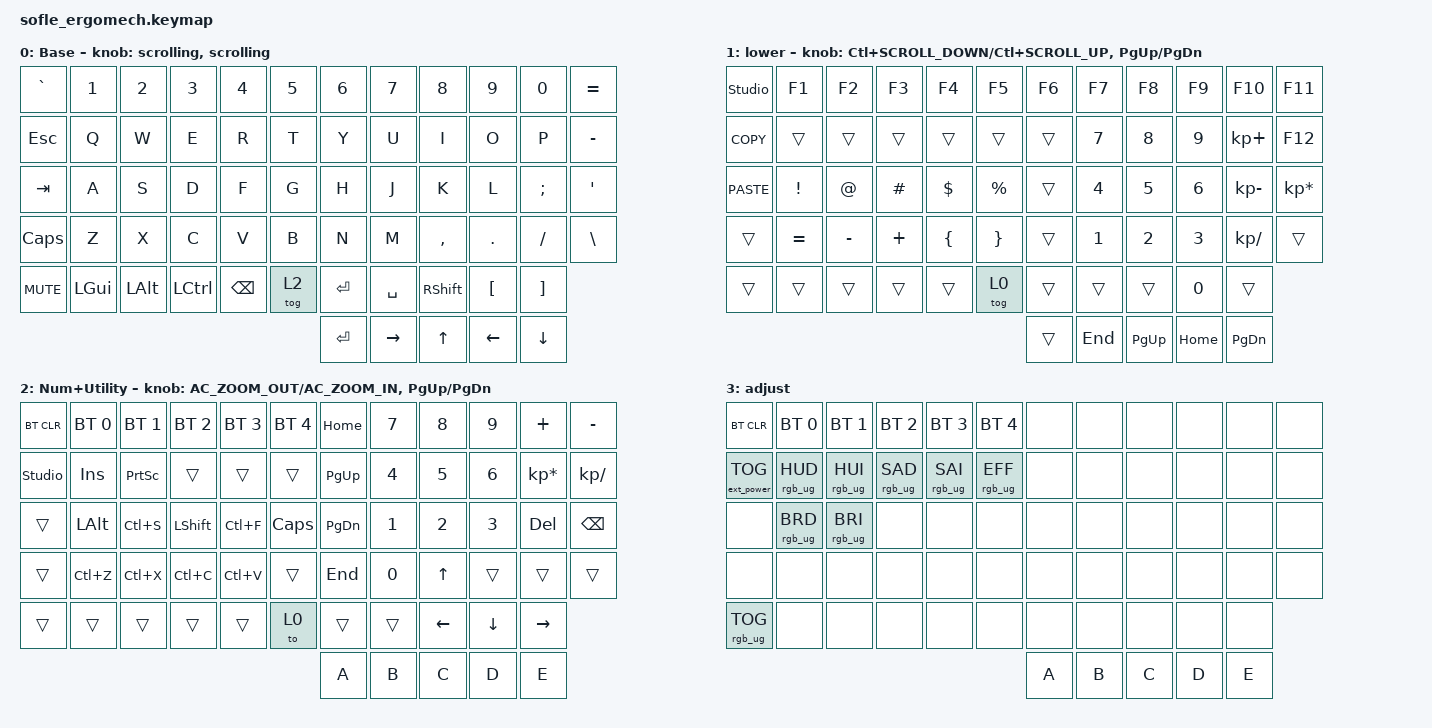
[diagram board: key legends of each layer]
/*
 * Copyright (c) 2020 The ZMK Contributors
 *
 * SPDX-License-Identifier: MIT
 */

#include <behaviors.dtsi>
#include <dt-bindings/zmk/bt.h>
#include <dt-bindings/zmk/ext_power.h>
#include <dt-bindings/zmk/keys.h>
#include <dt-bindings/zmk/rgb.h>
#include <dt-bindings/zmk/pointing.h>

#define BASE 0
#define LOWER 1
#define RAISE 2
#define ADJUST 3

/ {
    // Activate ADJUST layer by pressing raise and lower

    conditional_layers {
        compatible = "zmk,conditional-layers";

        adjust_layer {
            if-layers = <LOWER RAISE>;
            then-layer = <ADJUST>;
        };
    };

    behaviors {
        scrolling: scrolling {
            compatible = "zmk,behavior-sensor-rotate";
            #sensor-binding-cells = <0>;
            bindings = <&msc SCRL_UP>, <&msc SCRL_DOWN>;
        };
    };

    macros {
        Cut: Cut {
            compatible = "zmk,behavior-macro";
            #binding-cells = <0>;
            bindings = <&kp LC(X)>;
            label = "CUT";
        };

        Copy: Copy {
            compatible = "zmk,behavior-macro";
            #binding-cells = <0>;
            bindings = <&kp LC(C)>;
            label = "COPY";
        };

        Paste: Paste {
            compatible = "zmk,behavior-macro";
            #binding-cells = <0>;
            bindings = <&kp LC(V)>;
            label = "PASTE";
        };

        Save: Save {
            compatible = "zmk,behavior-macro";
            #binding-cells = <0>;
            bindings = <&kp LC(S)>;
            label = "SAVE";
        };

        Find: Find {
            compatible = "zmk,behavior-macro";
            #binding-cells = <0>;
            bindings = <&kp LC(F)>;
            label = "FIND";
        };

        Undo: Undo {
            compatible = "zmk,behavior-macro";
            #binding-cells = <0>;
            bindings = <&kp LC(Z)>;
            label = "UNDO";
        };
    };

    keymap {
        compatible = "zmk,keymap";

        default_layer {
            label = "Base";

            // ------------------------------------------------------------------------------------------------------------
            // |   `   |  1  |  2  |  3   |  4   |  5   |                   |  6   |  7    |  8    |  9   |   0   |       |
            // |  ESC  |  Q  |  W  |  E   |  R   |  T   |                   |  Y   |  U    |  I    |  O   |   P   | BKSPC |
            // |  TAB  |  A  |  S  |  D   |  F   |  G   |                   |  H   |  J    |  K    |  L   |   ;   |   '   |
            // | SHIFT |  Z  |  X  |  C   |  V   |  B   |  MUTE  |  |       |  N   |  M    |  ,    |  .   |   /   | SHIFT |
            //               | GUI | ALT  | CTRL | LOWER|  ENTER |  | SPACE | RAISE| CTRL  | ALT   | GUI  |

            bindings = <
&kp GRAVE   &kp N1    &kp N2    &kp N3     &kp N4         &kp N5  &kp N6     &kp N7     &kp N8        &kp N9    &kp N0    &kp EQUAL
&kp ESC     &kp Q     &kp W     &kp E      &kp R          &kp T   &kp Y      &kp U      &kp I         &kp O     &kp P     &kp MINUS
&kp TAB     &kp A     &kp S     &kp D      &kp F          &kp G   &kp H      &kp J      &kp K         &kp L     &kp SEMI  &kp SQT
&kp CAPS    &kp Z     &kp X     &kp C      &kp V          &kp B   &kp N      &kp M      &kp COMMA     &kp DOT   &kp FSLH  &kp BACKSLASH
&kp C_MUTE  &kp LGUI  &kp LALT  &kp LCTRL  &kp BACKSPACE  &tog 2  &kp ENTER  &kp SPACE  &kp RSHIFT    &kp LBKT  &kp RBKT
                                                                  &kp ENTER  &kp RIGHT  &kp UP_ARROW  &kp LEFT  &kp DOWN
            >;

            sensor-bindings =
                <&scrolling &scrolling>;
        };

        lower_layer {
            label = "lower";

            // TODO: Some binds are waiting for shifted keycode support.
            // ------------------------------------------------------------------------------------------------------------
            // |       |  F1 |  F2 |  F3  |  F4  |  F5  |                   |  F6  |  F7   |  F8   |  F9  |  F10  |  F11  |
            // |   `   |  1  |  2  |  3   |  4   |  5   |                   |  6   |  7    |  8    |  9   |   0   |  F12  |
            // |       |  !  |  @  |  #   |  $   |  %   |                   |  ^   |  &    |  *    |  (   |   )   |   |   |
            // |       |  =  |  -  |  +   |  {   |  }   |        |  |       |  [   |  ]    |  ;    |  :   |   \   |       |
            //               |     |      |      |      |        |  |       |      |       |       |      |

            bindings = <
&studio_unlock  &kp F1     &kp F2     &kp F3    &kp F4    &kp F5     &kp F6  &kp F7   &kp F8       &kp F9    &kp F10          &kp F11
&kp K_COPY      &trans     &trans     &trans    &trans    &trans     &trans  &kp N7   &kp N8       &kp N9    &kp KP_PLUS      &kp F12
&kp K_PASTE     &kp EXCL   &kp AT     &kp HASH  &kp DLLR  &kp PRCNT  &trans  &kp N4   &kp N5       &kp N6    &kp KP_SUBTRACT  &kp KP_MULTIPLY
&trans          &kp EQUAL  &kp MINUS  &kp PLUS  &kp LBRC  &kp RBRC   &trans  &kp N1   &kp N2       &kp N3    &kp KP_DIVIDE    &trans
&trans          &trans     &trans     &trans    &trans    &tog 0     &trans  &trans   &trans       &kp N0    &trans
                                                                     &trans  &kp END  &kp PAGE_UP  &kp HOME  &kp PAGE_DOWN
            >;

            sensor-bindings =
                <&inc_dec_kp LC(K_SCROLL_DOWN) LC(K_SCROLL_UP) &inc_dec_kp PG_UP PG_DN>;
        };

        raise_layer {
            label = "Num+Utility";

            // ------------------------------------------------------------------------------------------------------------
            // | BTCLR | BT1  | BT2  |  BT3  |  BT4  |  BT5 |                |      |      |       |      |       |       |
            // |       | INS  | PSCR | GUI   |       |      |                | PGUP |      |   ^   |      |       |       |
            // |       | ALT  | CTRL | SHIFT |       | CAPS |                | PGDN |   <- |   v   |  ->  |  DEL  | BKSPC |
            // |       | UNDO | CUT  | COPY  | PASTE |      |      |  |      |      |      |       |      |       |       |
            //                |      |       |       |      |      |  |      |      |      |       |      |

            bindings = <
&bt BT_CLR      &bt BT_SEL 0  &bt BT_SEL 1  &bt BT_SEL 2  &bt BT_SEL 3  &bt BT_SEL 4  &kp HOME   &kp N7  &kp N8    &kp N9    &kp PLUS         &kp MINUS
&studio_unlock  &kp INS       &kp PSCRN     &trans        &trans        &trans        &kp PG_UP  &kp N4  &kp N5    &kp N6    &kp KP_MULTIPLY  &kp KP_DIVIDE
&trans          &kp LALT      &kp LC(S)     &kp LSHFT     &kp LC(F)     &kp CLCK      &kp PG_DN  &kp N1  &kp N2    &kp N3    &kp DEL          &kp BSPC
&trans          &kp LC(Z)     &kp LC(X)     &kp LC(C)     &kp LC(V)     &trans        &kp END    &kp N0  &kp UP    &trans    &trans           &trans
&trans          &trans        &trans        &trans        &trans        &to 0         &trans     &trans  &kp LEFT  &kp DOWN  &kp RIGHT
                                                                                      &kp A      &kp B   &kp C     &kp D     &kp E
            >;

            sensor-bindings =
                <&inc_dec_kp C_AC_ZOOM_OUT C_AC_ZOOM_IN &inc_dec_kp PG_UP PG_DN>;
        };

        adjust_layer {
            // ----------------------------------------------------------------------------------------------------------------------------
            // | BTCLR  |  BT1    |  BT2    |   BT3   |   BT4   |   BT5   |                  |      |      |       |      |       |       |
            // | EXTPWR | RGB_HUD | RGB_HUI | RGB_SAD | RGB_SAI | RGB_EFF |                  |      |      |       |      |       |       |
            // |        | RGB_BRD | RGB_BRI |         |         |         |                  |      |      |       |      |       |       |
            // |        |         |         |         |         |         | RGB_TOG | |      |      |      |       |      |       |       |
            //                    |         |         |         |         |         | |      |      |      |       |      |

            label = "adjust";
            bindings = <
&bt BT_CLR         &bt BT_SEL 0     &bt BT_SEL 1     &bt BT_SEL 2     &bt BT_SEL 3     &bt BT_SEL 4     &none  &none  &none  &none  &none  &none
&ext_power EP_TOG  &rgb_ug RGB_HUD  &rgb_ug RGB_HUI  &rgb_ug RGB_SAD  &rgb_ug RGB_SAI  &rgb_ug RGB_EFF  &none  &none  &none  &none  &none  &none
&none              &rgb_ug RGB_BRD  &rgb_ug RGB_BRI  &none            &none            &none            &none  &none  &none  &none  &none  &none
&none              &none            &none            &none            &none            &none            &none  &none  &none  &none  &none  &none
&rgb_ug RGB_TOG    &none            &none            &none            &none            &none            &none  &none  &none  &none  &none
                                                                                                        &kp A  &kp B  &kp C  &kp D  &kp E
            >;
        };
    };
};
